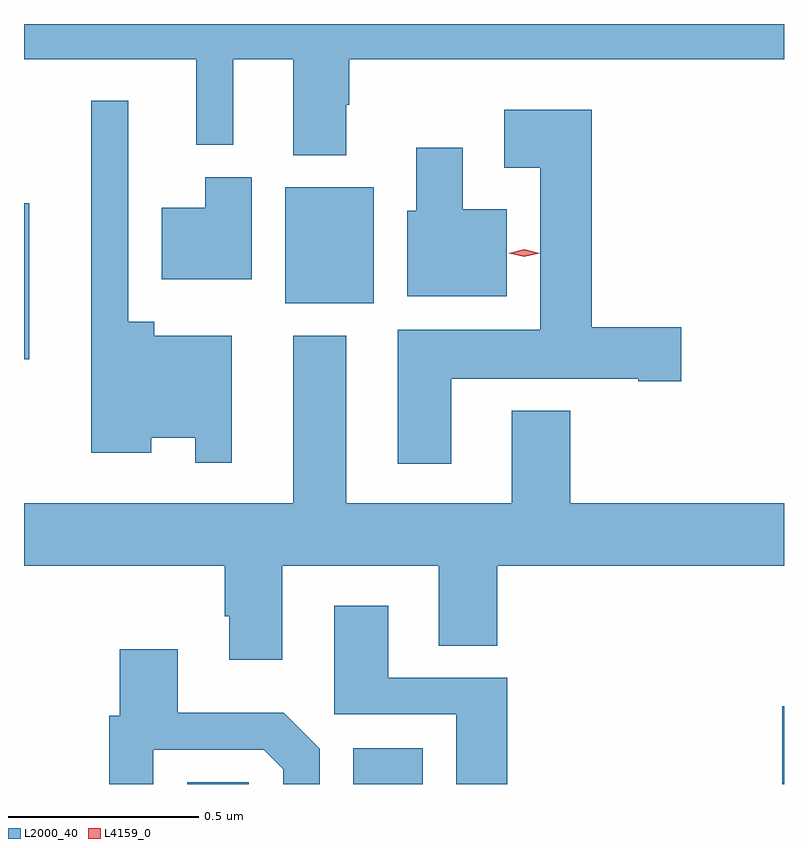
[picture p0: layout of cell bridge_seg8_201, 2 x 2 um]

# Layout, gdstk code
import gdstk
lib = gdstk.Library(unit=1e-6, precision=1e-09)
def R(c, l, rs):  # rectangles x0, y0, x1, y1
    for r in rs: c.add(gdstk.rectangle(r[:2], r[2:], *l))
def P(c, l, *ps):  # polygons
    for p in ps: c.add(gdstk.Polygon(p, *l))
L2000_40 = (2000, 40)
L4159_0 = (4159, 0)

bridge_seg8_201 = lib.new_cell('bridge_seg8_201')
R(bridge_seg8_201, L2000_40, [(336.261,1113.261,336.423,1113.266), (336.698,1113.261,336.88,1113.355), (337.826,1113.261,337.831,1113.466), (335.831,1114.379,335.845,1114.789), (336.518,1114.526,336.751,1114.831)])
P(bridge_seg8_201, L2000_40, [(335.831,1115.168),(336.284,1115.168),(336.284,1114.943),(336.382,1114.943),(336.382,1115.168),(336.539,1115.168),(336.539,1114.916),(336.679,1114.916),(336.679,1115.048),(336.687,1115.048),(336.687,1115.168),(337.831,1115.168),(337.831,1115.261),(335.831,1115.261)],
  [(336.378,1114.441),(336.174,1114.441),(336.174,1114.477),(336.105,1114.477),(336.105,1115.059),(336.008,1115.059),(336.008,1114.133),(336.166,1114.133),(336.166,1114.172),(336.282,1114.172),(336.282,1114.107),(336.378,1114.107)],
  [(336.955,1114.328),(337.448,1114.328),(337.448,1114.321),(337.561,1114.321),(337.561,1114.463),(337.325,1114.463),(337.325,1115.035),(337.095,1115.035),(337.095,1114.883),(337.19,1114.883),(337.19,1114.456),(336.815,1114.456),(336.815,1114.104),(336.955,1114.104)],
  [(337.102,1114.774),(336.985,1114.774),(336.985,1114.936),(336.863,1114.936),(336.863,1114.77),(336.839,1114.77),(336.839,1114.544),(337.102,1114.544)],
  [(336.43,1114.858),(336.308,1114.858),(336.308,1114.777),(336.194,1114.777),(336.194,1114.589),(336.43,1114.589)],
  [(336.511,1113.836),(336.923,1113.836),(336.923,1113.625),(337.076,1113.625),(337.076,1113.836),(337.831,1113.836),(337.831,1114),(337.268,1114),(337.268,1114.243),(337.115,1114.243),(337.115,1114),(336.679,1114),(336.679,1114.441),(336.539,1114.441),(336.539,1114),(335.831,1114),(335.831,1113.836),(336.359,1113.836),(336.359,1113.703),(336.371,1113.703),(336.371,1113.588),(336.511,1113.588)],
  [(337.103,1113.54),(336.79,1113.54),(336.79,1113.73),(336.647,1113.73),(336.647,1113.444),(336.968,1113.444),(336.968,1113.261),(337.103,1113.261)],
  [(336.171,1113.351),(336.462,1113.351),(336.513,1113.3),(336.513,1113.261),(336.609,1113.261),(336.609,1113.354),(336.515,1113.448),(336.235,1113.448),(336.235,1113.616),(336.083,1113.616),(336.083,1113.441),(336.055,1113.441),(336.055,1113.261),(336.171,1113.261)])
P(bridge_seg8_201, L4159_0, [(337.147,1114.648),(337.106,1114.658),(337.106,1114.658),(337.106,1114.658),(337.147,1114.668),(337.188,1114.658),(337.188,1114.658),(337.188,1114.658)])

lib.write_gds('bridge_seg8_201.gds')
